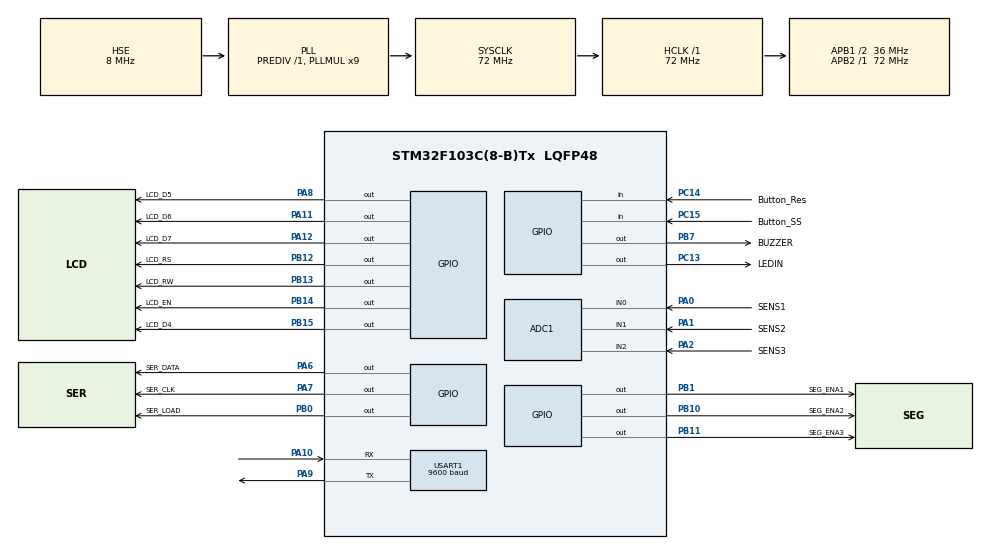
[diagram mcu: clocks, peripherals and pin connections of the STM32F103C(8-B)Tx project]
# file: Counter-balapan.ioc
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ADC1.Channel-0\#ChannelRegularConversion=ADC_CHANNEL_0
ADC1.Channel-1\#ChannelRegularConversion=ADC_CHANNEL_1
ADC1.Channel-2\#ChannelRegularConversion=ADC_CHANNEL_2
ADC1.ContinuousConvMode=ENABLE
ADC1.InjNumberOfConversion=0
ADC1.NbrOfConversion=3
ADC1.NbrOfConversionFlag=1
ADC1.Rank-0\#ChannelRegularConversion=1
ADC1.Rank-1\#ChannelRegularConversion=2
ADC1.Rank-2\#ChannelRegularConversion=3
ADC1.SamplingTime-0\#ChannelRegularConversion=ADC_SAMPLETIME_239CYCLES_5
ADC1.SamplingTime-1\#ChannelRegularConversion=ADC_SAMPLETIME_239CYCLES_5
ADC1.SamplingTime-2\#ChannelRegularConversion=ADC_SAMPLETIME_239CYCLES_5
ADC1.master=1
Dma.ADC1.0.Direction=DMA_PERIPH_TO_MEMORY
Dma.ADC1.0.Instance=DMA1_Channel1
Dma.ADC1.0.MemDataAlignment=DMA_MDATAALIGN_WORD
Dma.ADC1.0.MemInc=DMA_MINC_ENABLE
Dma.ADC1.0.Mode=DMA_CIRCULAR
Dma.ADC1.0.PeriphDataAlignment=DMA_PDATAALIGN_WORD
Dma.ADC1.0.PeriphInc=DMA_PINC_DISABLE
Dma.ADC1.0.Priority=DMA_PRIORITY_LOW
Dma.Request0=ADC1
Mcu.Family=STM32F1
Mcu.Name=STM32F103C(8-B)Tx
Mcu.Package=LQFP48
NVIC.DMA1_Channel1_IRQn=true\:0\:0\:false\:false\:true\:false\:true
NVIC.PriorityGroup=NVIC_PRIORITYGROUP_4
NVIC.TIM2_IRQn=true\:0\:0\:false\:false\:true\:true\:true
NVIC.TIM3_IRQn=true\:0\:0\:false\:false\:true\:true\:true
NVIC.TIM4_IRQn=true\:0\:0\:false\:false\:true\:true\:true
NVIC.USART1_IRQn=true\:0\:0\:false\:false\:true\:true\:true
PA0-WKUP.GPIO_Label=SENS1
PA0-WKUP.Signal=ADCx_IN0
PA1.GPIO_Label=SENS2
PA1.Signal=ADCx_IN1
PA10.Mode=Asynchronous
PA10.Signal=USART1_RX
PA11.GPIO_Label=LCD_D6
PA11.Signal=GPIO_Output
PA12.GPIO_Label=LCD_D7
PA12.Signal=GPIO_Output
PA13.Mode=Serial_Wire
PA13.Signal=SYS_JTMS-SWDIO
PA14.Mode=Serial_Wire
PA14.Signal=SYS_JTCK-SWCLK
PA2.GPIO_Label=SENS3
PA2.Signal=ADCx_IN2
PA6.GPIO_Label=SER_DATA
PA6.Signal=GPIO_Output
PA7.GPIO_Label=SER_CLK
PA7.Signal=GPIO_Output
PA8.GPIO_Label=LCD_D5
PA8.Signal=GPIO_Output
PA9.Mode=Asynchronous
PA9.Signal=USART1_TX
PB0.GPIO_Label=SER_LOAD
PB0.Signal=GPIO_Output
PB1.GPIO_Label=SEG_ENA1
PB1.Signal=GPIO_Output
PB10.GPIO_Label=SEG_ENA2
PB10.Signal=GPIO_Output
PB11.GPIO_Label=SEG_ENA3
PB11.Signal=GPIO_Output
PB12.GPIO_Label=LCD_RS
PB12.Signal=GPIO_Output
PB13.GPIO_Label=LCD_RW
PB13.Signal=GPIO_Output
PB14.GPIO_Label=LCD_EN
PB14.Signal=GPIO_Output
PB15.GPIO_Label=LCD_D4
PB15.Signal=GPIO_Output
PB7.GPIO_Label=BUZZER
PB7.Signal=GPIO_Output
PC13-TAMPER-RTC.GPIO_Label=LEDIN
PC13-TAMPER-RTC.Signal=GPIO_Output
PC14-OSC32_IN.GPIO_Label=Button_Res
PC14-OSC32_IN.GPIO_PuPd=GPIO_PULLUP
PC14-OSC32_IN.Signal=GPIO_Input
PC15-OSC32_OUT.GPIO_Label=Button_SS
PC15-OSC32_OUT.GPIO_PuPd=GPIO_PULLUP
PC15-OSC32_OUT.Signal=GPIO_Input
PD0-OSC_IN.Mode=HSE-External-Oscillator
PD0-OSC_IN.Signal=RCC_OSC_IN
PD1-OSC_OUT.Mode=HSE-External-Oscillator
PD1-OSC_OUT.Signal=RCC_OSC_OUT
ProjectManager.HeapSize=0x200
ProjectManager.StackSize=0x400
ProjectManager.TargetToolchain=SW4STM32
RCC.ADCPresc=RCC_ADCPCLK2_DIV6
RCC.AHBFreq_Value=72000000
RCC.APB1CLKDivider=RCC_HCLK_DIV2
RCC.APB1Freq_Value=36000000
RCC.APB1TimFreq_Value=72000000
RCC.APB2Freq_Value=72000000
RCC.APB2TimFreq_Value=72000000
RCC.HCLKFreq_Value=72000000
RCC.PLLMUL=RCC_PLL_MUL9
RCC.PLLSourceVirtual=RCC_PLLSOURCE_HSE
RCC.SYSCLKFreq_VALUE=72000000
RCC.SYSCLKSource=RCC_SYSCLKSOURCE_PLLCLK
RCC.USBFreq_Value=72000000
SH.ADCx_IN0.0=ADC1_IN0,IN0
SH.ADCx_IN1.0=ADC1_IN1,IN1
SH.ADCx_IN2.0=ADC1_IN2,IN2
TIM2.Prescaler=35999
TIM3.Prescaler=35999
TIM4.Period=20-1
TIM4.Prescaler=35999
USART1.BaudRate=9600
USART1.VirtualMode=VM_ASYNC
VP_TIM2_VS_ClockSourceINT.Mode=Internal
VP_TIM3_VS_ClockSourceINT.Mode=Internal
VP_TIM4_VS_ClockSourceINT.Mode=Internal
board=custom

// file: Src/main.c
/* USER CODE BEGIN Header */
/**
  ******************************************************************************
  * @file           : main.c
  * @brief          : Main program body
  ******************************************************************************
  * @attention
  *
  * <h2><center>&copy; Copyright (c) 2019 STMicroelectronics.
  * All rights reserved.</center></h2>
  *
  * This software component is licensed by ST under BSD 3-Clause license,
  * the "License"; You may not use this file except in compliance with the
  * License. You may obtain a copy of the License at:
  *                        opensource.org/licenses/BSD-3-Clause
  *
  ******************************************************************************
  */
/* USER CODE END Header */

#include "main.h"

/* USER CODE BEGIN Includes */
#include "LCD.h"
#include "ShiftRegister.h"
#include "task.h"
#include "adc.h"
/* USER CODE END Includes */

DMA_HandleTypeDef hdma_adc1;
ADC_HandleTypeDef hadc1;
TIM_HandleTypeDef htim2;
TIM_HandleTypeDef htim3;
TIM_HandleTypeDef htim4;

UART_HandleTypeDef huart1;

void SystemClock_Config(void);
static void MX_GPIO_Init(void);
static void MX_DMA_Init(void);
static void MX_ADC1_Init(void);
static void MX_USART1_UART_Init(void);
static void MX_TIM2_Init(void);
static void MX_TIM4_Init(void);
static void MX_TIM3_Init(void);

/* USER CODE BEGIN 0 */
uint32_t sensor[3];

/* USER CODE END 0 */

int main(void)
{

  /* MCU Configuration--------------------------------------------------------*/

  /* Reset of all peripherals, Initializes the Flash interface and the Systick. */
  HAL_Init();

  /* Configure the system clock */
  SystemClock_Config();

  /* Initialize all configured peripherals */
  MX_GPIO_Init();
  MX_DMA_Init();
  MX_ADC1_Init();
  MX_USART1_UART_Init();
  MX_TIM2_Init();
  MX_TIM4_Init();
  MX_TIM3_Init();
  /* USER CODE BEGIN 2 */

  HAL_ADC_Start_DMA(&hadc1, (uint32_t *)sensor, 3);
  LCD_Init();
  kalibrasi_sensor();
  HAL_TIM_Base_Start_IT(&htim2);
  HAL_TIM_Base_Start_IT(&htim3);
  HAL_TIM_Base_Start_IT(&htim4);

//  HAL_TIM_Base_Stop_IT();

  display_utama();
  /* USER CODE END 2 */

  /* Infinite loop */
  /* USER CODE BEGIN WHILE */
  while (1)
  {

	  if(timerEnable){
		  stopwatch_print();
		  hasil_waktu();
	  }
	  else{
		  display_utama();
		  LCD_Clear();
	  }

    /* USER CODE END WHILE */

    /* USER CODE BEGIN 3 */
//  }
  /* USER CODE END 3 */
  }
}
void SystemClock_Config(void)
{
  RCC_OscInitTypeDef RCC_OscInitStruct = {0};
  RCC_ClkInitTypeDef RCC_ClkInitStruct = {0};
  RCC_PeriphCLKInitTypeDef PeriphClkInit = {0};

  /** Initializes the CPU, AHB and APB busses clocks
  */
  RCC_OscInitStruct.OscillatorType = RCC_OSCILLATORTYPE_HSE;
  RCC_OscInitStruct.HSEState = RCC_HSE_ON;
  RCC_OscInitStruct.HSEPredivValue = RCC_HSE_PREDIV_DIV1;
  RCC_OscInitStruct.HSIState = RCC_HSI_ON;
  RCC_OscInitStruct.PLL.PLLState = RCC_PLL_ON;
  RCC_OscInitStruct.PLL.PLLSource = RCC_PLLSOURCE_HSE;
  RCC_OscInitStruct.PLL.PLLMUL = RCC_PLL_MUL9;
  if (HAL_RCC_OscConfig(&RCC_OscInitStruct) != HAL_OK)
  {
    Error_Handler();
  }
  /** Initializes the CPU, AHB and APB busses clocks
  */
  RCC_ClkInitStruct.ClockType = RCC_CLOCKTYPE_HCLK|RCC_CLOCKTYPE_SYSCLK
                              |RCC_CLOCKTYPE_PCLK1|RCC_CLOCKTYPE_PCLK2;
  RCC_ClkInitStruct.SYSCLKSource = RCC_SYSCLKSOURCE_PLLCLK;
  RCC_ClkInitStruct.AHBCLKDivider = RCC_SYSCLK_DIV1;
  RCC_ClkInitStruct.APB1CLKDivider = RCC_HCLK_DIV2;
  RCC_ClkInitStruct.APB2CLKDivider = RCC_HCLK_DIV1;

  if (HAL_RCC_ClockConfig(&RCC_ClkInitStruct, FLASH_LATENCY_2) != HAL_OK)
  {
    Error_Handler();
  }
  PeriphClkInit.PeriphClockSelection = RCC_PERIPHCLK_ADC;
  PeriphClkInit.AdcClockSelection = RCC_ADCPCLK2_DIV6;
  if (HAL_RCCEx_PeriphCLKConfig(&PeriphClkInit) != HAL_OK)
  {
    Error_Handler();
  }
}

static void MX_ADC1_Init(void)
{

  ADC_ChannelConfTypeDef sConfig = {0};

  /** Common config
  */
  hadc1.Instance = ADC1;
  hadc1.Init.ScanConvMode = ADC_SCAN_ENABLE;
  hadc1.Init.ContinuousConvMode = ENABLE;
  hadc1.Init.DiscontinuousConvMode = DISABLE;
  hadc1.Init.ExternalTrigConv = ADC_SOFTWARE_START;
  hadc1.Init.DataAlign = ADC_DATAALIGN_RIGHT;
  hadc1.Init.NbrOfConversion = 3;
  if (HAL_ADC_Init(&hadc1) != HAL_OK)
  {
    Error_Handler();
  }
  /** Configure Regular Channel
  */
  sConfig.Channel = ADC_CHANNEL_0;
  sConfig.Rank = ADC_REGULAR_RANK_1;
  sConfig.SamplingTime = ADC_SAMPLETIME_239CYCLES_5;
  if (HAL_ADC_ConfigChannel(&hadc1, &sConfig) != HAL_OK)
  {
    Error_Handler();
  }
  /** Configure Regular Channel
  */
  sConfig.Channel = ADC_CHANNEL_1;
  sConfig.Rank = ADC_REGULAR_RANK_2;
  if (HAL_ADC_ConfigChannel(&hadc1, &sConfig) != HAL_OK)
  {
    Error_Handler();
  }
  /** Configure Regular Channel
  */
  sConfig.Channel = ADC_CHANNEL_2;
  sConfig.Rank = ADC_REGULAR_RANK_3;
  if (HAL_ADC_ConfigChannel(&hadc1, &sConfig) != HAL_OK)
  {
    Error_Handler();
  }

}

static void MX_TIM2_Init(void)
{

  TIM_ClockConfigTypeDef sClockSourceConfig = {0};
  TIM_MasterConfigTypeDef sMasterConfig = {0};

  htim2.Instance = TIM2;
  htim2.Init.Prescaler = 35999;
  htim2.Init.CounterMode = TIM_COUNTERMODE_UP;
  htim2.Init.Period = 4-1;
  htim2.Init.ClockDivision = TIM_CLOCKDIVISION_DIV1;
  htim2.Init.AutoReloadPreload = TIM_AUTORELOAD_PRELOAD_DISABLE;
  if (HAL_TIM_Base_Init(&htim2) != HAL_OK)
  {
    Error_Handler();
  }
  sClockSourceConfig.ClockSource = TIM_CLOCKSOURCE_INTERNAL;
  if (HAL_TIM_ConfigClockSource(&htim2, &sClockSourceConfig) != HAL_OK)
  {
    Error_Handler();
  }
  sMasterConfig.MasterOutputTrigger = TIM_TRGO_RESET;
  sMasterConfig.MasterSlaveMode = TIM_MASTERSLAVEMODE_DISABLE;
  if (HAL_TIMEx_MasterConfigSynchronization(&htim2, &sMasterConfig) != HAL_OK)
  {
    Error_Handler();
  }

}

static void MX_TIM3_Init(void)
{

  TIM_ClockConfigTypeDef sClockSourceConfig = {0};
  TIM_MasterConfigTypeDef sMasterConfig = {0};

  htim3.Instance = TIM3;
  htim3.Init.Prescaler = 35999;
  htim3.Init.CounterMode = TIM_COUNTERMODE_UP;
  htim3.Init.Period = 40-1;
  htim3.Init.ClockDivision = TIM_CLOCKDIVISION_DIV1;
  htim3.Init.AutoReloadPreload = TIM_AUTORELOAD_PRELOAD_DISABLE;
  if (HAL_TIM_Base_Init(&htim3) != HAL_OK)
  {
    Error_Handler();
  }
  sClockSourceConfig.ClockSource = TIM_CLOCKSOURCE_INTERNAL;
  if (HAL_TIM_ConfigClockSource(&htim3, &sClockSourceConfig) != HAL_OK)
  {
    Error_Handler();
  }
  sMasterConfig.MasterOutputTrigger = TIM_TRGO_RESET;
  sMasterConfig.MasterSlaveMode = TIM_MASTERSLAVEMODE_DISABLE;
  if (HAL_TIMEx_MasterConfigSynchronization(&htim3, &sMasterConfig) != HAL_OK)
  {
    Error_Handler();
  }

}

static void MX_TIM4_Init(void)
{

  TIM_ClockConfigTypeDef sClockSourceConfig = {0};
  TIM_MasterConfigTypeDef sMasterConfig = {0};

  htim4.Instance = TIM4;
  htim4.Init.Prescaler = 35999;
  htim4.Init.CounterMode = TIM_COUNTERMODE_UP;
  htim4.Init.Period = 20-1;
  htim4.Init.ClockDivision = TIM_CLOCKDIVISION_DIV1;
  htim4.Init.AutoReloadPreload = TIM_AUTORELOAD_PRELOAD_DISABLE;
  if (HAL_TIM_Base_Init(&htim4) != HAL_OK)
  {
    Error_Handler();
  }
  sClockSourceConfig.ClockSource = TIM_CLOCKSOURCE_INTERNAL;
  if (HAL_TIM_ConfigClockSource(&htim4, &sClockSourceConfig) != HAL_OK)
  {
    Error_Handler();
  }
  sMasterConfig.MasterOutputTrigger = TIM_TRGO_RESET;
  sMasterConfig.MasterSlaveMode = TIM_MASTERSLAVEMODE_DISABLE;
  if (HAL_TIMEx_MasterConfigSynchronization(&htim4, &sMasterConfig) != HAL_OK)
  {
    Error_Handler();
  }

}

static void MX_USART1_UART_Init(void)
{

  huart1.Instance = USART1;
  huart1.Init.BaudRate = 9600;
  huart1.Init.WordLength = UART_WORDLENGTH_8B;
  huart1.Init.StopBits = UART_STOPBITS_1;
  huart1.Init.Parity = UART_PARITY_NONE;
  huart1.Init.Mode = UART_MODE_TX_RX;
  huart1.Init.HwFlowCtl = UART_HWCONTROL_NONE;
  huart1.Init.OverSampling = UART_OVERSAMPLING_16;
  if (HAL_UART_Init(&huart1) != HAL_OK)
  {
    Error_Handler();
  }

}

static void MX_DMA_Init(void)
{
  /* DMA controller clock enable */
  __HAL_RCC_DMA1_CLK_ENABLE();

  /* DMA interrupt init */
  /* DMA1_Channel1_IRQn interrupt configuration */
  HAL_NVIC_SetPriority(DMA1_Channel1_IRQn, 0, 0);
  HAL_NVIC_EnableIRQ(DMA1_Channel1_IRQn);

}

static void MX_GPIO_Init(void)
{
  GPIO_InitTypeDef GPIO_InitStruct = {0};

  /* GPIO Ports Clock Enable */
  __HAL_RCC_GPIOC_CLK_ENABLE();
  __HAL_RCC_GPIOD_CLK_ENABLE();
  __HAL_RCC_GPIOA_CLK_ENABLE();
  __HAL_RCC_GPIOB_CLK_ENABLE();

  /*Configure GPIO pin Output Level */
  HAL_GPIO_WritePin(LEDIN_GPIO_Port, LEDIN_Pin, GPIO_PIN_RESET);

  /*Configure GPIO pin Output Level */
  HAL_GPIO_WritePin(GPIOA, SER_DATA_Pin|SER_CLK_Pin|LCD_D5_Pin|LCD_D6_Pin
                          |LCD_D7_Pin, GPIO_PIN_RESET);

  /*Configure GPIO pin Output Level */
  HAL_GPIO_WritePin(GPIOB, SER_LOAD_Pin|SEG_ENA1_Pin|SEG_ENA2_Pin|SEG_ENA3_Pin
                          |LCD_RS_Pin|LCD_RW_Pin|LCD_EN_Pin|LCD_D4_Pin
                          |BUZZER_Pin, GPIO_PIN_RESET);

  /*Configure GPIO pin : LEDIN_Pin */
  GPIO_InitStruct.Pin = LEDIN_Pin;
  GPIO_InitStruct.Mode = GPIO_MODE_OUTPUT_PP;
  GPIO_InitStruct.Pull = GPIO_NOPULL;
  GPIO_InitStruct.Speed = GPIO_SPEED_FREQ_LOW;
  HAL_GPIO_Init(LEDIN_GPIO_Port, &GPIO_InitStruct);

  /*Configure GPIO pins : Button_Res_Pin Button_SS_Pin */
  GPIO_InitStruct.Pin = Button_Res_Pin|Button_SS_Pin;
  GPIO_InitStruct.Mode = GPIO_MODE_INPUT;
  GPIO_InitStruct.Pull = GPIO_PULLUP;
  HAL_GPIO_Init(GPIOC, &GPIO_InitStruct);

  /*Configure GPIO pins : SER_DATA_Pin SER_CLK_Pin LCD_D5_Pin LCD_D6_Pin
                           LCD_D7_Pin */
  GPIO_InitStruct.Pin = SER_DATA_Pin|SER_CLK_Pin|LCD_D5_Pin|LCD_D6_Pin
                          |LCD_D7_Pin;
  GPIO_InitStruct.Mode = GPIO_MODE_OUTPUT_PP;
  GPIO_InitStruct.Pull = GPIO_NOPULL;
  GPIO_InitStruct.Speed = GPIO_SPEED_FREQ_LOW;
  HAL_GPIO_Init(GPIOA, &GPIO_InitStruct);

  /*Configure GPIO pins : SER_LOAD_Pin SEG_ENA1_Pin SEG_ENA2_Pin SEG_ENA3_Pin
                           LCD_RS_Pin LCD_RW_Pin LCD_EN_Pin LCD_D4_Pin
                           BUZZER_Pin */
  GPIO_InitStruct.Pin = SER_LOAD_Pin|SEG_ENA1_Pin|SEG_ENA2_Pin|SEG_ENA3_Pin
                          |LCD_RS_Pin|LCD_RW_Pin|LCD_EN_Pin|LCD_D4_Pin
                          |BUZZER_Pin;
  GPIO_InitStruct.Mode = GPIO_MODE_OUTPUT_PP;
  GPIO_InitStruct.Pull = GPIO_NOPULL;
  GPIO_InitStruct.Speed = GPIO_SPEED_FREQ_LOW;
  HAL_GPIO_Init(GPIOB, &GPIO_InitStruct);

}

void Error_Handler(void)
{
}

/************************ (C) COPYRIGHT STMicroelectronics *****END OF FILE****/
